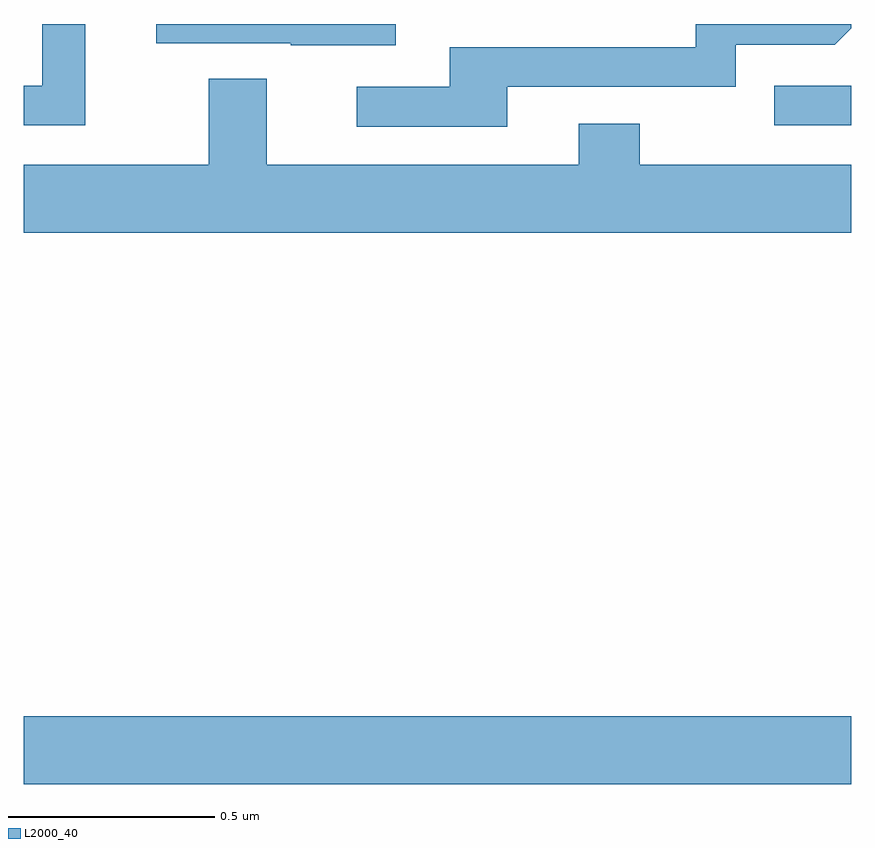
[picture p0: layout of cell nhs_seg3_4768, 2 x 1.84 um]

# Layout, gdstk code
import gdstk
lib = gdstk.Library(unit=1e-6, precision=1e-09)
def R(c, l, rs):  # rectangles x0, y0, x1, y1
    for r in rs: c.add(gdstk.rectangle(r[:2], r[2:], *l))
def P(c, l, *ps):  # polygons
    for p in ps: c.add(gdstk.Polygon(p, *l))
L2000_40 = (2000, 40)

nhs_seg3_4768 = lib.new_cell('nhs_seg3_4768')
R(nhs_seg3_4768, L2000_40, [(170,719.564,172,719.728), (171.813,721.155,172,721.251)])
P(nhs_seg3_4768, L2000_40, [(170.149,721.4),(170.045,721.4),(170.045,721.251),(170,721.251),(170,721.155),(170.149,721.155)],
  [(171.169,721.248),(171.72,721.248),(171.72,721.35),(171.96,721.35),(172,721.39),(172,721.4),(171.624,721.4),(171.624,721.344),(171.029,721.344),(171.029,721.248),(170.805,721.248),(170.805,721.152),(171.169,721.152)],
  [(170.899,721.4),(170.321,721.4),(170.321,721.353),(170.645,721.353),(170.645,721.349),(170.899,721.349)],
  [(172,721.06),(171.489,721.06),(171.489,721.159),(171.341,721.159),(171.341,721.06),(170.587,721.06),(170.587,721.268),(170.447,721.268),(170.447,721.06),(170,721.06),(170,720.896),(172,720.896)])

lib.write_gds('nhs_seg3_4768.gds')
